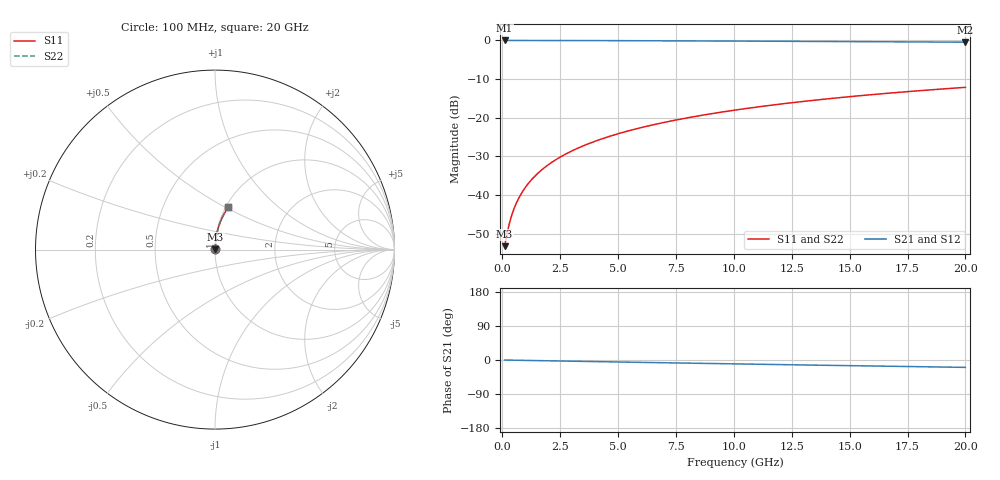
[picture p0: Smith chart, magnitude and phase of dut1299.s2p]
! Touchstone file exported from HFSS 2024.1.0
!  File:  C:/UserFiles/LocalFiles/RDL_TSV_Batchsim/temp_RDL_top_1299_1780243225.aedt
!  Generated:  12:02:47 AM Jun  1, 2026
!  Design:  RDL_top
!  Project:  temp_RDL_top_1299_1780243225
!  Setup:  Setup1
!  Solution:  Sweep
! Variables:
!  dtsv = 10.80580581um
!  hbump = 3um
!  htsv = 81.29um
!  ldown = 100um
!  lrdl = 216.13um
!  p = 40
!  p1 = 47.87um
!  rhole = 1um
!  t = 450um
!  tdown = 3.915915916um
!  trdl = 3.59um
!  wdown = 15.38538539um
!  wrdl = 13.2um
# GHz S MA R 50.000000
! Terminal data exported
! Port[1] = Box2_T1
! Port[2] = Box2_T2
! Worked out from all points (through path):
!   200 points, 100 MHz to 20 GHz, reference 50 ohm
!   highest |S21| = -0.02 dB at 100 MHz (marker M1); lowest = -0.5 dB at 20 GHz (marker M2)
!   group delay of S21, straight-line fit = 2.7 ps
!   lowest |S11| = -53.2 dB at 100 MHz (marker M3), VSWR 1.00, Z = 50.2 + j0.129 ohm
!   |S11| at or under -10 dB: start of sweep to end of sweep
!   |S22| runs from -53.2 to -12.1 dB; largest |S21 - S12| = 3.5e-15
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0.1  0.002185 36.0  0.9982 -0.1  0.9982 -0.1  0.002185 36.0
! Gamma 0 0 0 0
! Port Impedance 50 0 50 0
0.2  0.003127 54.9  0.9982 -0.2  0.9982 -0.2  0.003127 54.9
0.3  0.004239 64.3  0.9981 -0.3  0.9981 -0.3  0.004239 64.3
0.4  0.005404 69.6  0.9981 -0.4  0.9981 -0.4  0.005404 69.6
0.5  0.00659 73.0  0.998 -0.5  0.998 -0.5  0.00659 73.0
0.6  0.007785 75.3  0.998 -0.7  0.998 -0.7  0.007786 75.3
0.8  0.01019 78.4  0.9979 -0.9  0.9979 -0.9  0.01019 78.4
1.1  0.01382 81.0  0.9977 -1.2  0.9977 -1.2  0.01382 80.9
1.5  0.0187 82.8  0.9974 -1.6  0.9974 -1.6  0.0187 82.8
1.8  0.02238 83.6  0.9972 -1.9  0.9972 -1.9  0.02238 83.6
2.1  0.02606 84.1  0.9969 -2.2  0.9969 -2.2  0.02606 84.1
2.7  0.03346 84.7  0.9963 -2.9  0.9963 -2.9  0.03346 84.7
3.5  0.04337 84.9  0.9952 -3.7  0.9952 -3.7  0.04337 84.9
4.2  0.05207 84.8  0.994 -4.4  0.994 -4.4  0.05207 84.8
5  0.06205 84.6  0.9926 -5.3  0.9926 -5.3  0.06205 84.6
5.9  0.07333 84.2  0.9907 -6.2  0.9907 -6.2  0.07333 84.1
6.8  0.08464 83.6  0.9886 -7.1  0.9886 -7.1  0.08464 83.6
8.3  0.1036 82.6  0.9849 -8.6  0.9849 -8.6  0.1035 82.6
10.1  0.1262 81.2  0.98 -10.3  0.98 -10.3  0.1262 81.2
13.4  0.1676 78.4  0.9702 -13.5  0.9702 -13.5  0.1675 78.4
16.7  0.208 75.4  0.9595 -16.5  0.9595 -16.5  0.208 75.4
20  0.2471 72.4  0.948 -19.5  0.948 -19.5  0.2471 72.4
